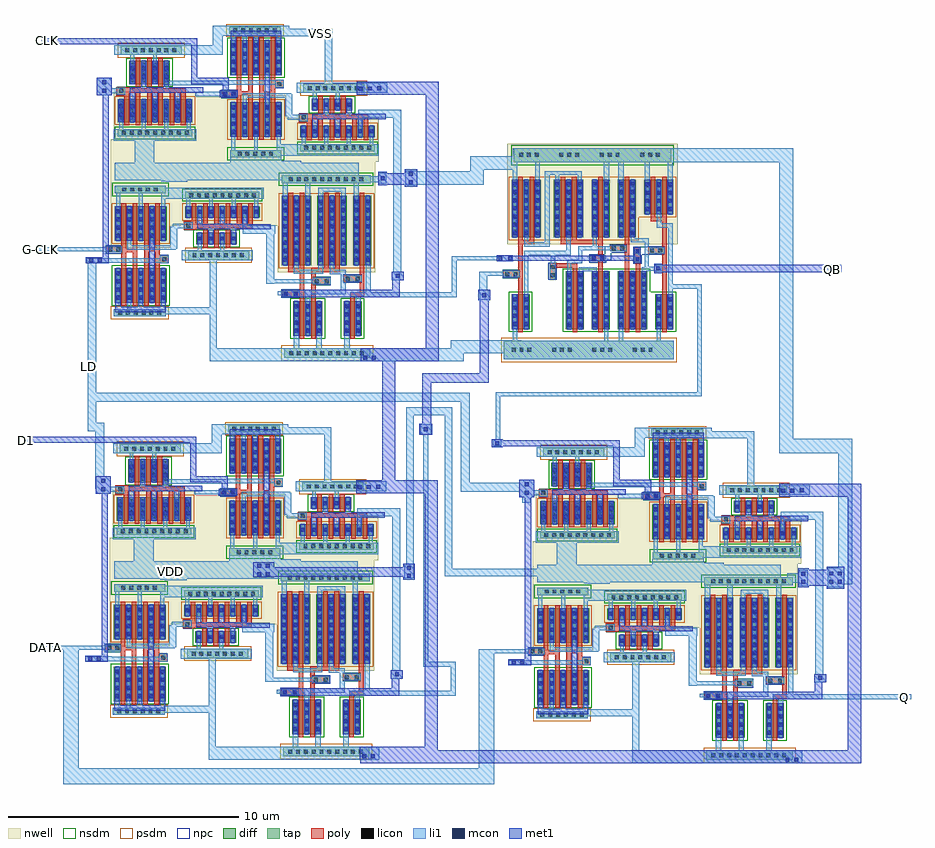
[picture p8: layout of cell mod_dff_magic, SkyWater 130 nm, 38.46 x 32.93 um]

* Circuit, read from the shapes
.subckt mod_dff_magic CLK D1 DATA G-CLK LD Q QB VDD VSS
XM1 VSS DATA n1 VSS sky130_fd_pr__nfet_01v8 w=1.5 l=0.2 m=2
XM2 VSS G-CLK n2 VSS sky130_fd_pr__nfet_01v8 w=1.5 l=0.2 m=2
XM3 MUX_1_2/a1 LD VSS VSS sky130_fd_pr__nfet_01v8 w=1 l=0.2 m=3
XM4 MUX_1_3/a1 LD VSS VSS sky130_fd_pr__nfet_01v8 w=1 l=0.2 m=3
XM5 MUX_1_2/AND_1_3/inverter_2_1/VIN LD n1 VSS sky130_fd_pr__nfet_01v8 w=1.5 l=0.2 m=2
XM6 MUX_1_3/AND_1_3/inverter_2_1/VIN LD n2 VSS sky130_fd_pr__nfet_01v8 w=1.5 l=0.2 m=2
XM7 MUX_1_2/a3 MUX_1_2/AND_1_3/inverter_2_1/VIN VSS VSS sky130_fd_pr__nfet_01v8 w=0.5 l=0.2 m=3
XM8 MUX_1_3/a3 MUX_1_3/AND_1_3/inverter_2_1/VIN VSS VSS sky130_fd_pr__nfet_01v8 w=0.5 l=0.2 m=3
XM9 VSS D1 n3 VSS sky130_fd_pr__nfet_01v8 w=1.5 l=0.2 m=2
XM10 VSS CLK n4 VSS sky130_fd_pr__nfet_01v8 w=1.5 l=0.2 m=2
XM11 MUX_1_2/AND_1_2/inverter_2_1/VIN MUX_1_2/a1 n3 VSS sky130_fd_pr__nfet_01v8 w=1.5 l=0.2 m=2
XM12 MUX_1_3/AND_1_2/inverter_2_1/VIN MUX_1_3/a1 n4 VSS sky130_fd_pr__nfet_01v8 w=1.5 l=0.2 m=2
XM13 n5 MUX_1_2/a4 VSS VSS sky130_fd_pr__nfet_01v8 w=1.5 l=0.2
XM14 n6 MUX_1_3/a4 VSS VSS sky130_fd_pr__nfet_01v8 w=1.5 l=0.2
XM15 VSS MUX_1_2/a3 n5 VSS sky130_fd_pr__nfet_01v8 w=1.5 l=0.2
XM16 VSS MUX_1_3/a3 n6 VSS sky130_fd_pr__nfet_01v8 w=1.5 l=0.2
XM17 MUX_1_2/a4 MUX_1_2/AND_1_2/inverter_2_1/VIN VSS VSS sky130_fd_pr__nfet_01v8 w=0.5 l=0.2 m=3
XM18 MUX_1_3/a4 MUX_1_3/AND_1_2/inverter_2_1/VIN VSS VSS sky130_fd_pr__nfet_01v8 w=0.5 l=0.2 m=3
XM19 TSPC_MAGIC_1_0/D n5 VSS VSS sky130_fd_pr__nfet_01v8 w=1.5 l=0.2
XM20 TSPC_MAGIC_1_0/CLK n6 VSS VSS sky130_fd_pr__nfet_01v8 w=1.5 l=0.2
XM21 n7 TSPC_MAGIC_1_0/D VSS VSS sky130_fd_pr__nfet_01v8 w=1.5 l=0.2
XM22 VSS DATA n8 VSS sky130_fd_pr__nfet_01v8 w=1.5 l=0.2 m=2
XM23 MUX_1_1/a1 LD VSS VSS sky130_fd_pr__nfet_01v8 w=1 l=0.2 m=3
XM24 MUX_1_1/AND_1_3/inverter_2_1/VIN LD n8 VSS sky130_fd_pr__nfet_01v8 w=1.5 l=0.2 m=2
XM25 n9 n7 n10 VSS sky130_fd_pr__nfet_01v8 w=2.5 l=0.2
XM26 VSS TSPC_MAGIC_1_0/CLK n9 VSS sky130_fd_pr__nfet_01v8 w=2.5 l=0.2
XM27 n11 n10 VSS VSS sky130_fd_pr__nfet_01v8 w=2.5 l=0.2
XM28 MUX_1_1/a3 MUX_1_1/AND_1_3/inverter_2_1/VIN VSS VSS sky130_fd_pr__nfet_01v8 w=0.5 l=0.2 m=3
XM29 QB TSPC_MAGIC_1_0/CLK n11 VSS sky130_fd_pr__nfet_01v8 w=2.5 l=0.2
XM30 VSS MUX_1_1/IN1 n12 VSS sky130_fd_pr__nfet_01v8 w=1.5 l=0.2 m=2
XM31 MUX_1_1/IN1 QB VSS VSS sky130_fd_pr__nfet_01v8 w=1.5 l=0.2
XM32 MUX_1_1/AND_1_2/inverter_2_1/VIN MUX_1_1/a1 n12 VSS sky130_fd_pr__nfet_01v8 w=1.5 l=0.2 m=2
XM33 n13 MUX_1_1/a4 VSS VSS sky130_fd_pr__nfet_01v8 w=1.5 l=0.2
XM34 VSS MUX_1_1/a3 n13 VSS sky130_fd_pr__nfet_01v8 w=1.5 l=0.2
XM35 MUX_1_1/a4 MUX_1_1/AND_1_2/inverter_2_1/VIN VSS VSS sky130_fd_pr__nfet_01v8 w=0.5 l=0.2 m=3
XM36 Q n13 VSS VSS sky130_fd_pr__nfet_01v8 w=1.5 l=0.2
XM37 MUX_1_2/AND_1_3/inverter_2_1/VIN DATA VDD VDD sky130_fd_pr__pfet_01v8 w=1.5 l=0.2 m=2
XM38 MUX_1_3/AND_1_3/inverter_2_1/VIN G-CLK VDD VDD sky130_fd_pr__pfet_01v8 w=1.5 l=0.2 m=2
XM39 MUX_1_2/a1 LD VDD VDD sky130_fd_pr__pfet_01v8 w=1 l=0.2 m=6
XM40 MUX_1_3/a1 LD VDD VDD sky130_fd_pr__pfet_01v8 w=1 l=0.2 m=6
XM41 MUX_1_2/AND_1_3/inverter_2_1/VIN LD VDD VDD sky130_fd_pr__pfet_01v8 w=1.5 l=0.2 m=2
XM42 MUX_1_3/AND_1_3/inverter_2_1/VIN LD VDD VDD sky130_fd_pr__pfet_01v8 w=1.5 l=0.2 m=2
XM43 MUX_1_2/a3 MUX_1_2/AND_1_3/inverter_2_1/VIN VDD VDD sky130_fd_pr__pfet_01v8 w=0.5 l=0.2 m=6
XM44 MUX_1_3/a3 MUX_1_3/AND_1_3/inverter_2_1/VIN VDD VDD sky130_fd_pr__pfet_01v8 w=0.5 l=0.2 m=6
XM45 MUX_1_2/AND_1_2/inverter_2_1/VIN D1 VDD VDD sky130_fd_pr__pfet_01v8 w=1.5 l=0.2 m=2
XM46 MUX_1_3/AND_1_2/inverter_2_1/VIN CLK VDD VDD sky130_fd_pr__pfet_01v8 w=1.5 l=0.2 m=2
XM47 MUX_1_2/AND_1_2/inverter_2_1/VIN MUX_1_2/a1 VDD VDD sky130_fd_pr__pfet_01v8 w=1.5 l=0.2 m=2
XM48 MUX_1_3/AND_1_2/inverter_2_1/VIN MUX_1_3/a1 VDD VDD sky130_fd_pr__pfet_01v8 w=1.5 l=0.2 m=2
XM49 n14 MUX_1_2/a4 VDD VDD sky130_fd_pr__pfet_01v8 w=3 l=0.2 m=2
XM50 n15 MUX_1_3/a4 VDD VDD sky130_fd_pr__pfet_01v8 w=3 l=0.2 m=2
XM51 MUX_1_2/a4 MUX_1_2/AND_1_2/inverter_2_1/VIN VDD VDD sky130_fd_pr__pfet_01v8 w=0.5 l=0.2 m=6
XM52 MUX_1_3/a4 MUX_1_3/AND_1_2/inverter_2_1/VIN VDD VDD sky130_fd_pr__pfet_01v8 w=0.5 l=0.2 m=6
XM53 n5 MUX_1_2/a3 n14 VDD sky130_fd_pr__pfet_01v8 w=3 l=0.2 m=2
XM54 n6 MUX_1_3/a3 n15 VDD sky130_fd_pr__pfet_01v8 w=3 l=0.2 m=2
XM55 TSPC_MAGIC_1_0/D n5 VDD VDD sky130_fd_pr__pfet_01v8 w=3 l=0.2
XM56 TSPC_MAGIC_1_0/CLK n6 VDD VDD sky130_fd_pr__pfet_01v8 w=3 l=0.2
XM57 n16 TSPC_MAGIC_1_0/D VDD VDD sky130_fd_pr__pfet_01v8 w=2.5 l=0.2 m=2
XM58 MUX_1_1/AND_1_3/inverter_2_1/VIN DATA VDD VDD sky130_fd_pr__pfet_01v8 w=1.5 l=0.2 m=2
XM59 MUX_1_1/a1 LD VDD VDD sky130_fd_pr__pfet_01v8 w=1 l=0.2 m=6
XM60 n7 TSPC_MAGIC_1_0/CLK n16 VDD sky130_fd_pr__pfet_01v8 w=2.5 l=0.2 m=2
XM61 MUX_1_1/AND_1_3/inverter_2_1/VIN LD VDD VDD sky130_fd_pr__pfet_01v8 w=1.5 l=0.2 m=2
XM62 VDD TSPC_MAGIC_1_0/CLK n10 VDD sky130_fd_pr__pfet_01v8 w=2.5 l=0.2
XM63 MUX_1_1/a3 MUX_1_1/AND_1_3/inverter_2_1/VIN VDD VDD sky130_fd_pr__pfet_01v8 w=0.5 l=0.2 m=6
XM64 QB n10 VDD VDD sky130_fd_pr__pfet_01v8 w=2.5 l=0.2
XM65 MUX_1_1/IN1 QB VDD VDD sky130_fd_pr__pfet_01v8 w=1.5 l=0.2 m=2
XM66 MUX_1_1/AND_1_2/inverter_2_1/VIN MUX_1_1/IN1 VDD VDD sky130_fd_pr__pfet_01v8 w=1.5 l=0.2 m=2
XM67 MUX_1_1/AND_1_2/inverter_2_1/VIN MUX_1_1/a1 VDD VDD sky130_fd_pr__pfet_01v8 w=1.5 l=0.2 m=2
XM68 n17 MUX_1_1/a4 VDD VDD sky130_fd_pr__pfet_01v8 w=3 l=0.2 m=2
XM69 MUX_1_1/a4 MUX_1_1/AND_1_2/inverter_2_1/VIN VDD VDD sky130_fd_pr__pfet_01v8 w=0.5 l=0.2 m=6
XM70 n13 MUX_1_1/a3 n17 VDD sky130_fd_pr__pfet_01v8 w=3 l=0.2 m=2
XM71 Q n13 VDD VDD sky130_fd_pr__pfet_01v8 w=3 l=0.2
.ends

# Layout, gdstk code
import gdstk
lib = gdstk.Library(unit=1e-6, precision=1e-09)
def R(c, l, rs):  # rectangles x0, y0, x1, y1
    for r in rs: c.add(gdstk.rectangle(r[:2], r[2:], *l))
def A(c, l, x, y, w, h, nx, ny, dx, dy):  # array of equal rectangles
    R(c, l, [(x+i*dx, y+j*dy, x+i*dx+w, y+j*dy+h) for i in range(nx) for j in range(ny)])
nwell = (64, 20)
diff = (65, 20)
tap = (65, 44)
poly = (66, 20)
licon = (66, 44)
li1 = (67, 20)
mcon = (67, 44)
met1 = (68, 20)
nsdm = (93, 44)
psdm = (94, 20)
npc = (95, 20)

sky130_fd_pr__nfet_01v8_ = lib.new_cell('sky130_fd_pr__nfet_01v8_FQGQPX')
R(sky130_fd_pr__nfet_01v8_, diff, [(-0.39,-0.75,0.39,0.75)])
R(sky130_fd_pr__nfet_01v8_, poly, [(-0.1,-0.88,0.1,0.88)])
A(sky130_fd_pr__nfet_01v8_, licon, -0.33, -0.595, 0.17, 0.17, 1, 4, 0, 0.34)
A(sky130_fd_pr__nfet_01v8_, licon, 0.16, -0.595, 0.17, 0.17, 1, 4, 0, 0.34)
R(sky130_fd_pr__nfet_01v8_, li1, [(-0.33,-0.77,-0.16,0.77), (0.16,-0.77,0.33,0.77)])
A(sky130_fd_pr__nfet_01v8_, mcon, -0.33, -0.625, 0.17, 0.17, 1, 4, 0, 0.36)
A(sky130_fd_pr__nfet_01v8_, mcon, 0.16, -0.625, 0.17, 0.17, 1, 4, 0, 0.36)
R(sky130_fd_pr__nfet_01v8_, met1, [(-0.36,-0.75,-0.13,0.75), (0.13,-0.75,0.36,0.75)])
R(sky130_fd_pr__nfet_01v8_, nsdm, [(-0.515,-0.875,0.515,0.875)])

c_sky130_fd_pr__nfet_01v8_ = lib.new_cell('sky130_fd_pr__nfet_01v8_NUEQ7D')
R(c_sky130_fd_pr__nfet_01v8_, diff, [(-0.39,-1.25,0.39,1.25)])
R(c_sky130_fd_pr__nfet_01v8_, poly, [(-0.1,-1.38,0.1,1.38)])
A(c_sky130_fd_pr__nfet_01v8_, licon, -0.33, -1.105, 0.17, 0.17, 1, 7, 0, 0.34)
A(c_sky130_fd_pr__nfet_01v8_, licon, 0.16, -1.105, 0.17, 0.17, 1, 7, 0, 0.34)
R(c_sky130_fd_pr__nfet_01v8_, li1, [(-0.33,-1.27,-0.16,1.27), (0.16,-1.27,0.33,1.27)])
A(c_sky130_fd_pr__nfet_01v8_, mcon, -0.33, -1.165, 0.17, 0.17, 1, 7, 0, 0.36)
A(c_sky130_fd_pr__nfet_01v8_, mcon, 0.16, -1.165, 0.17, 0.17, 1, 7, 0, 0.36)
R(c_sky130_fd_pr__nfet_01v8_, met1, [(-0.36,-1.25,-0.13,1.25), (0.13,-1.25,0.36,1.25)])
R(c_sky130_fd_pr__nfet_01v8_, nsdm, [(-0.515,-1.375,0.515,1.375)])

sky130_fd_pr__pfet_01v8_ = lib.new_cell('sky130_fd_pr__pfet_01v8_WN8SDB')
R(sky130_fd_pr__pfet_01v8_, nwell, [(-0.57,-1.56,0.57,1.56)])
R(sky130_fd_pr__pfet_01v8_, diff, [(-0.39,-1.25,0.39,1.25)])
R(sky130_fd_pr__pfet_01v8_, poly, [(-0.1,-1.38,0.1,1.38)])
A(sky130_fd_pr__pfet_01v8_, licon, -0.33, -1.105, 0.17, 0.17, 1, 7, 0, 0.34)
A(sky130_fd_pr__pfet_01v8_, licon, 0.16, -1.105, 0.17, 0.17, 1, 7, 0, 0.34)
R(sky130_fd_pr__pfet_01v8_, li1, [(-0.33,-1.27,-0.16,1.27), (0.16,-1.27,0.33,1.27)])
A(sky130_fd_pr__pfet_01v8_, mcon, -0.33, -1.165, 0.17, 0.17, 1, 7, 0, 0.36)
A(sky130_fd_pr__pfet_01v8_, mcon, 0.16, -1.165, 0.17, 0.17, 1, 7, 0, 0.36)
R(sky130_fd_pr__pfet_01v8_, met1, [(-0.36,-1.25,-0.13,1.25), (0.13,-1.25,0.36,1.25)])
R(sky130_fd_pr__pfet_01v8_, psdm, [(-0.515,-1.375,0.515,1.375)])

c_sky130_fd_pr__pfet_01v8_ = lib.new_cell('sky130_fd_pr__pfet_01v8_WNFSTC')
R(c_sky130_fd_pr__pfet_01v8_, nwell, [(-0.57,-1.06,0.57,1.06)])
R(c_sky130_fd_pr__pfet_01v8_, diff, [(-0.39,-0.75,0.39,0.75)])
R(c_sky130_fd_pr__pfet_01v8_, poly, [(-0.1,-0.88,0.1,0.88)])
A(c_sky130_fd_pr__pfet_01v8_, licon, -0.33, -0.595, 0.17, 0.17, 1, 4, 0, 0.34)
A(c_sky130_fd_pr__pfet_01v8_, licon, 0.16, -0.595, 0.17, 0.17, 1, 4, 0, 0.34)
R(c_sky130_fd_pr__pfet_01v8_, li1, [(-0.33,-0.77,-0.16,0.77), (0.16,-0.77,0.33,0.77)])
A(c_sky130_fd_pr__pfet_01v8_, mcon, -0.33, -0.625, 0.17, 0.17, 1, 4, 0, 0.36)
A(c_sky130_fd_pr__pfet_01v8_, mcon, 0.16, -0.625, 0.17, 0.17, 1, 4, 0, 0.36)
R(c_sky130_fd_pr__pfet_01v8_, met1, [(-0.36,-0.75,-0.13,0.75), (0.13,-0.75,0.36,0.75)])
R(c_sky130_fd_pr__pfet_01v8_, psdm, [(-0.515,-0.875,0.515,0.875)])

tspc_magic_1 = lib.new_cell('TSPC_MAGIC_1')
R(tspc_magic_1, nwell, [(-0.03,0.02,7.355,4.385)])
R(tspc_magic_1, tap, [(-0.18,-4.965,7.185,-4.16), (0.25,3.57,7.06,4.185)])
R(tspc_magic_1, poly, [(0.44,-2.195,0.64,-1.4), (6.675,-2.02,6.875,-0.38), (1.795,-1.485,2.065,-0.99), (-0.205,-1.4,0.64,-1.13), (2.79,-1.15,2.99,-0.99), (0.44,-1.13,0.64,0.02), (3.905,-1.055,4.105,-0.72), (5.535,-1.035,5.735,-0.795), (5.045,-1.02,5.245,-0.285), (1.795,-0.99,2.99,-0.8), (1.795,-0.8,2.065,-0.795), (5.47,-0.795,5.74,-0.105), (3.545,-0.72,4.235,-0.45), (3.905,-0.45,4.105,0.02), (6.07,-0.38,6.875,-0.11), (4.42,-0.285,5.245,-0.015), (6.675,-0.11,6.875,1.025), (5.045,-0.015,5.245,0.205), (0.44,0.02,1.13,0.2), (2.275,0.02,4.105,0.2), (0.44,0.2,0.64,0.24), (2.765,0.2,4.09,0.22), (6.185,1.025,6.875,1.22), (6.675,1.22,6.875,1.225)])
A(tspc_magic_1, licon, 0.155, -4.635, 0.17, 0.17, 3, 1, 0.34, 0)
A(tspc_magic_1, licon, 1.905, -4.635, 0.17, 0.17, 3, 1, 0.34, 0)
A(tspc_magic_1, licon, 3.655, -4.635, 0.17, 0.17, 3, 1, 0.34, 0)
A(tspc_magic_1, licon, 5.405, -4.635, 0.17, 0.17, 3, 1, 0.34, 0)
A(tspc_magic_1, licon, 0.475, 3.815, 0.17, 0.17, 3, 1, 0.34, 0)
A(tspc_magic_1, licon, 2.225, 3.815, 0.17, 0.17, 3, 1, 0.34, 0)
A(tspc_magic_1, licon, 3.975, 3.815, 0.17, 0.17, 3, 1, 0.34, 0)
A(tspc_magic_1, licon, 5.725, 3.815, 0.17, 0.17, 3, 1, 0.34, 0)
R(tspc_magic_1, licon, [(1.845,-1.405,2.015,-1.235), (-0.125,-1.35,0.045,-1.18), (0.235,-1.35,0.405,-1.18), (1.845,-1.045,2.015,-0.875), (5.52,-0.715,5.69,-0.545), (3.625,-0.67,3.795,-0.5), (3.985,-0.67,4.155,-0.5), (5.52,-0.355,5.69,-0.185), (6.15,-0.33,6.32,-0.16), (6.51,-0.33,6.68,-0.16), (4.5,-0.235,4.67,-0.065), (4.86,-0.235,5.03,-0.065)])
R(tspc_magic_1, li1, [(-0.18,-4.965,7.185,-4.16), (0.2,-4.16,0.385,-3.585), (4.16,-4.16,4.345,-3.585), (4.8,-4.16,4.985,-3.58), (6.435,-4.16,6.62,-3.575), (0.7,-2.255,0.87,-0.445), (6.935,-2.155,7.125,0.75), (1.795,-1.485,2.065,-0.795), (-0.205,-1.4,0.485,-1.345), (-0.405,-1.345,0.485,-1.175), (-0.205,-1.175,0.485,-1.13), (2.56,-1.155,2.73,-0.805), (3.05,-1.15,3.845,-0.975), (5.79,-1.15,6.1,-0.98), (5.93,-0.98,6.1,-0.38), (2.56,-0.805,3.215,-0.635), (1.845,-0.795,2.035,-0.445), (5.47,-0.795,5.74,-0.105), (-0.485,-0.72,0.205,-0.67), (3.545,-0.72,4.235,-0.45), (-0.595,-0.67,0.205,-0.5), (3.045,-0.635,3.215,-0.24), (-0.485,-0.5,0.205,-0.45), (0.7,-0.445,2.71,-0.255), (5.93,-0.38,6.76,-0.11), (4.42,-0.285,5.11,-0.24), (2.52,-0.255,2.71,0.345), (3.045,-0.24,5.11,-0.07), (5.93,-0.11,6.1,0.11), (0.695,-0.08,1.795,0.12), (3.675,-0.07,3.845,0.33), (4.42,-0.07,5.11,-0.015), (5.305,0.11,6.1,0.28), (0.695,0.12,0.87,0.35), (1.595,0.12,1.795,3.03), (5.305,0.28,5.475,0.335), (6.44,0.75,7.125,0.935), (6.44,0.935,6.625,1.4), (4.14,2.67,4.39,3.57), (4.77,2.685,5.02,3.57), (5.925,2.76,6.14,3.57), (6.91,2.77,7.125,3.57), (0.195,2.775,0.385,3.57), (1.18,2.785,1.37,3.57), (2.04,2.83,2.215,3.03), (3.025,2.835,3.2,3.03), (1.595,3.03,3.2,3.2), (0.195,3.57,7.125,4.17), (0.195,4.17,7.06,4.185)])
R(tspc_magic_1, mcon, [(5.52,-0.715,5.69,-0.545), (3.625,-0.67,3.795,-0.5), (3.985,-0.67,4.155,-0.5), (-0.42,-0.665,-0.25,-0.495), (0.005,-0.66,0.175,-0.49), (5.52,-0.355,5.69,-0.185)])
R(tspc_magic_1, met1, [(5.47,-0.795,5.74,-0.69), (-0.485,-0.72,0.205,-0.69), (3.545,-0.72,4.235,-0.69), (-0.485,-0.69,5.74,-0.47), (-0.485,-0.47,0.205,-0.45), (3.545,-0.47,4.235,-0.45), (5.47,-0.47,5.74,-0.105)])
R(tspc_magic_1, nsdm, [(3.405,-3.775,3.49,-1.025), (4.52,-3.775,4.63,-1.025), (6.15,-3.775,6.26,-2.025), (0.125,3.445,7.185,4.31)])
R(tspc_magic_1, psdm, [(-0.305,-5.09,7.31,-4.035), (1.545,0.205,1.86,2.955), (3.38,0.205,3.49,2.955), (4.52,0.205,4.63,2.955), (5.66,1.205,5.77,2.955)])
R(tspc_magic_1, npc, [(1.745,-1.505,2.115,-0.775), (-0.225,-1.45,0.505,-1.08), (5.42,-0.815,5.79,-0.43), (3.525,-0.77,4.255,-0.665), (3.525,-0.665,4.465,-0.4), (5.42,-0.43,6.78,-0.085), (4.19,-0.4,4.465,-0.335), (4.19,-0.335,5.13,-0.07), (6.05,-0.085,6.78,-0.06), (4.4,-0.07,5.13,0.035)])
tspc_magic_1.add(gdstk.Reference(sky130_fd_pr__nfet_01v8_, (0.54,-2.9)))
tspc_magic_1.add(gdstk.Reference(c_sky130_fd_pr__nfet_01v8_, (2.89,-2.4)))
tspc_magic_1.add(gdstk.Reference(c_sky130_fd_pr__nfet_01v8_, (4.005,-2.4)))
tspc_magic_1.add(gdstk.Reference(c_sky130_fd_pr__nfet_01v8_, (5.145,-2.4)))
tspc_magic_1.add(gdstk.Reference(c_sky130_fd_pr__nfet_01v8_, (5.635,-2.4)))
tspc_magic_1.add(gdstk.Reference(sky130_fd_pr__nfet_01v8_, (6.775,-2.9)))
tspc_magic_1.add(gdstk.Reference(sky130_fd_pr__pfet_01v8_, (1.03,1.58)))
tspc_magic_1.add(gdstk.Reference(sky130_fd_pr__pfet_01v8_, (0.54,1.58)))
tspc_magic_1.add(gdstk.Reference(sky130_fd_pr__pfet_01v8_, (2.375,1.58)))
tspc_magic_1.add(gdstk.Reference(sky130_fd_pr__pfet_01v8_, (2.865,1.58)))
tspc_magic_1.add(gdstk.Reference(sky130_fd_pr__pfet_01v8_, (4.005,1.58)))
tspc_magic_1.add(gdstk.Reference(sky130_fd_pr__pfet_01v8_, (5.145,1.58)))
tspc_magic_1.add(gdstk.Reference(c_sky130_fd_pr__pfet_01v8_, (6.775,2.08)))
tspc_magic_1.add(gdstk.Reference(c_sky130_fd_pr__pfet_01v8_, (6.285,2.08)))
tspc_magic_1.add(gdstk.Label('VDD', (3.43,3.875), layer=67, texttype=5))
tspc_magic_1.add(gdstk.Label('VSS', (3.25,-4.595), layer=67, texttype=5))
tspc_magic_1.add(gdstk.Label('CLK', (-0.545,-0.595), layer=67, texttype=5))
tspc_magic_1.add(gdstk.Label('D', (-0.31,-1.25), layer=67, texttype=5))
tspc_magic_1.add(gdstk.Label('Q', (7.04,-0.79), layer=67, texttype=5))
tspc_magic_1.add(gdstk.Label('QB', (6.02,-0.845), layer=67, texttype=5))

c_sky130_fd_pr__pfet_01v8__ = lib.new_cell('sky130_fd_pr__pfet_01v8_6WH9DB')
R(c_sky130_fd_pr__pfet_01v8__, nwell, [(-0.57,-1.81,0.57,1.81)])
R(c_sky130_fd_pr__pfet_01v8__, diff, [(-0.39,-1.5,0.39,1.5)])
R(c_sky130_fd_pr__pfet_01v8__, poly, [(-0.1,-1.63,0.1,1.63)])
A(c_sky130_fd_pr__pfet_01v8__, licon, -0.33, -1.275, 0.17, 0.17, 1, 8, 0, 0.34)
A(c_sky130_fd_pr__pfet_01v8__, licon, 0.16, -1.275, 0.17, 0.17, 1, 8, 0, 0.34)
R(c_sky130_fd_pr__pfet_01v8__, li1, [(-0.33,-1.52,-0.16,1.52), (0.16,-1.52,0.33,1.52)])
A(c_sky130_fd_pr__pfet_01v8__, mcon, -0.33, -1.345, 0.17, 0.17, 1, 8, 0, 0.36)
A(c_sky130_fd_pr__pfet_01v8__, mcon, 0.16, -1.345, 0.17, 0.17, 1, 8, 0, 0.36)
R(c_sky130_fd_pr__pfet_01v8__, met1, [(-0.36,-1.5,-0.13,1.5), (0.13,-1.5,0.36,1.5)])
R(c_sky130_fd_pr__pfet_01v8__, psdm, [(-0.515,-1.625,0.515,1.625)])

or_magic = lib.new_cell('OR_MAGIC')
R(or_magic, nwell, [(-8.165,7.41,-7.475,7.615), (-6.88,10.66,-6.655,11.03), (-8.99,10.665,-8.765,11.03), (-10.18,11.03,-5.945,11.795)])
R(or_magic, tap, [(-9.895,3.705,-6.16,4.115), (-9.995,11.28,-6.15,11.61)])
R(or_magic, poly, [(-8.73,6.285,-8.53,6.89), (-9.22,6.29,-9.02,6.35), (-7.03,6.29,-6.825,6.35), (-9.995,6.35,-9.02,6.625), (-7.03,6.35,-6.415,6.55), (-6.615,6.55,-6.415,7), (-9.22,6.625,-9.02,7.41), (-8.73,6.89,-7.87,7.165), (-7.31,7,-6.415,7.275), (-8.73,7.165,-8.53,7.41), (-6.615,7.275,-6.415,7.66), (-9.71,7.41,-9.02,7.615), (-8.73,7.41,-7.475,7.615)])
A(or_magic, licon, -9.68, 3.82, 0.17, 0.17, 10, 1, 0.34, 0)
A(or_magic, licon, -9.695, 11.36, 0.17, 0.17, 10, 1, 0.34, 0)
R(or_magic, licon, [(-9.915,6.4,-9.745,6.57), (-9.485,6.4,-9.315,6.57), (-8.565,6.94,-8.395,7.11), (-8.135,6.94,-7.965,7.11), (-7.225,7.05,-7.055,7.22), (-6.795,7.05,-6.625,7.22)])
R(or_magic, li1, [(-9.895,3.705,-6.16,4.115), (-9.485,4.115,-9.25,4.71), (-8.505,4.115,-8.27,4.715), (-7.295,4.115,-7.06,4.765), (-8.99,6.1,-8.765,6.45), (-6.79,6.135,-6.57,6.335), (-6.79,6.335,-5.955,6.35), (-9.995,6.35,-9.22,6.41), (-7.03,6.35,-5.955,6.55), (-10.18,6.41,-9.22,6.58), (-8.99,6.45,-7.22,6.65), (-6.36,6.55,-6.145,7.77), (-9.995,6.58,-9.22,6.625), (-7.435,6.65,-7.22,7), (-8.645,6.89,-7.87,6.935), (-10.165,6.935,-7.87,7.115), (-7.435,7,-6.53,7.275), (-8.645,7.115,-7.87,7.165), (-7.435,7.275,-7.22,7.335), (-7.925,7.335,-7.22,7.53), (-9.47,7.345,-8.2,7.525), (-9.47,7.525,-9.26,7.82), (-8.41,7.525,-8.2,7.79), (-7.925,7.53,-7.715,7.8), (-9.965,10.65,-9.74,11.28), (-6.88,10.66,-6.655,11.28), (-8.99,10.665,-8.765,11.28), (-7.425,10.69,-7.215,10.91), (-8.415,10.7,-8.205,10.91), (-8.415,10.91,-7.215,11.08), (-9.995,11.28,-6.15,11.61)])
R(or_magic, nsdm, [(-10.12,11.155,-6.025,11.735)])
R(or_magic, psdm, [(-10.02,3.58,-6.035,4.24), (-8.605,7.595,-8.58,10.845), (-7.06,7.595,-7.03,10.845)])
R(or_magic, npc, [(-10.015,6.3,-9.215,6.67), (-8.665,6.84,-7.865,7.21), (-7.325,6.95,-6.525,7.32)])
or_magic.add(gdstk.Reference(c_sky130_fd_pr__pfet_01v8__, (-7.575,9.22)))
or_magic.add(gdstk.Reference(c_sky130_fd_pr__pfet_01v8__, (-9.61,9.22)))
or_magic.add(gdstk.Reference(c_sky130_fd_pr__pfet_01v8__, (-9.12,9.22)))
or_magic.add(gdstk.Reference(c_sky130_fd_pr__pfet_01v8__, (-8.065,9.22)))
or_magic.add(gdstk.Reference(c_sky130_fd_pr__pfet_01v8__, (-6.515,9.22)))
or_magic.add(gdstk.Reference(sky130_fd_pr__nfet_01v8_, (-8.63,5.41)))
or_magic.add(gdstk.Reference(sky130_fd_pr__nfet_01v8_, (-9.12,5.41)))
or_magic.add(gdstk.Reference(sky130_fd_pr__nfet_01v8_, (-6.93,5.41)))
or_magic.add(gdstk.Label('VDD', (-8.175,11.58), layer=67, texttype=5))
or_magic.add(gdstk.Label('VOUT', (-6.04,6.46), layer=67, texttype=5))
or_magic.add(gdstk.Label('A', (-10.125,7), layer=67, texttype=5))
or_magic.add(gdstk.Label('B', (-10.12,6.475), layer=67, texttype=5))
or_magic.add(gdstk.Label('VSS', (-8.175,3.74), layer=67, texttype=5))

c_sky130_fd_pr__pfet_01v8___ = lib.new_cell('sky130_fd_pr__pfet_01v8_ES6SDC')
R(c_sky130_fd_pr__pfet_01v8___, nwell, [(-0.57,-0.81,0.57,0.81)])
R(c_sky130_fd_pr__pfet_01v8___, diff, [(-0.39,-0.5,0.39,0.5)])
R(c_sky130_fd_pr__pfet_01v8___, poly, [(-0.1,-0.63,0.1,0.63)])
A(c_sky130_fd_pr__pfet_01v8___, licon, -0.33, -0.425, 0.17, 0.17, 1, 3, 0, 0.34)
A(c_sky130_fd_pr__pfet_01v8___, licon, 0.16, -0.425, 0.17, 0.17, 1, 3, 0, 0.34)
R(c_sky130_fd_pr__pfet_01v8___, li1, [(-0.33,-0.52,-0.16,0.52), (0.16,-0.52,0.33,0.52)])
R(c_sky130_fd_pr__pfet_01v8___, mcon, [(-0.33,-0.265,-0.16,-0.095), (0.16,-0.265,0.33,-0.095), (-0.33,0.095,-0.16,0.265), (0.16,0.095,0.33,0.265)])
R(c_sky130_fd_pr__pfet_01v8___, met1, [(-0.36,-0.5,-0.13,0.5), (0.13,-0.5,0.36,0.5)])
R(c_sky130_fd_pr__pfet_01v8___, psdm, [(-0.515,-0.625,0.515,0.625)])

c_sky130_fd_pr__nfet_01v8__ = lib.new_cell('sky130_fd_pr__nfet_01v8_JNEGCF')
R(c_sky130_fd_pr__nfet_01v8__, diff, [(-0.39,-0.5,0.39,0.5)])
R(c_sky130_fd_pr__nfet_01v8__, poly, [(-0.1,-0.63,0.1,0.63)])
A(c_sky130_fd_pr__nfet_01v8__, licon, -0.33, -0.425, 0.17, 0.17, 1, 3, 0, 0.34)
A(c_sky130_fd_pr__nfet_01v8__, licon, 0.16, -0.425, 0.17, 0.17, 1, 3, 0, 0.34)
R(c_sky130_fd_pr__nfet_01v8__, li1, [(-0.33,-0.52,-0.16,0.52), (0.16,-0.52,0.33,0.52)])
R(c_sky130_fd_pr__nfet_01v8__, mcon, [(-0.33,-0.265,-0.16,-0.095), (0.16,-0.265,0.33,-0.095), (-0.33,0.095,-0.16,0.265), (0.16,0.095,0.33,0.265)])
R(c_sky130_fd_pr__nfet_01v8__, met1, [(-0.36,-0.5,-0.13,0.5), (0.13,-0.5,0.36,0.5)])
R(c_sky130_fd_pr__nfet_01v8__, nsdm, [(-0.515,-0.625,0.515,0.625)])

inverter_1 = lib.new_cell('inverter_1')
R(inverter_1, nwell, [(0.14,0.12,0.505,0.15), (0.24,1.33,0.41,1.62), (1.22,1.33,1.39,1.62), (3.18,1.33,3.35,1.62), (0,1.62,3.59,2.115)])
R(inverter_1, tap, [(0.31,-2.005,2.955,-1.61), (0.18,1.645,3.405,1.93)])
A(inverter_1, poly, 0.96, 0.045, 0.2, 0.14, 4, 1, 0.49, 0)
R(inverter_1, poly, [(0.96,-0.215,1.16,-0.155), (0.12,-0.21,0.67,-0.155), (1.45,-0.21,1.65,-0.155), (1.94,-0.21,2.14,-0.155), (0.12,-0.155,3.12,0.045), (0.12,0.045,0.67,0.17), (2.92,0.045,3.12,0.19), (0.47,0.17,0.67,0.24)])
A(inverter_1, licon, 0.505, -1.895, 0.17, 0.17, 7, 1, 0.34, 0)
A(inverter_1, licon, 0.36, 1.695, 0.17, 0.17, 9, 1, 0.34, 0)
R(inverter_1, licon, [(0.24,-0.13,0.41,0.04)])
A(inverter_1, li1, 0.24, 1.33, 0.17, 0.29, 4, 1, 0.98, 0)
R(inverter_1, li1, [(0.03,-2.03,3.105,-1.6), (0.73,-1.6,0.9,-1.31), (1.71,-1.6,1.88,-1.31), (0.14,-0.18,0.505,-0.15), (-0.36,-0.15,0.505,0.055), (0.14,0.055,0.505,0.12), (0,1.62,3.59,2.115)])
R(inverter_1, met1, [(1.19,-0.345,1.42,-0.2), (2.17,-0.34,2.4,-0.2), (0.7,-0.2,3.885,0.03), (0.7,0.03,0.93,0.31), (1.19,0.03,2.4,0.04), (2.66,0.03,2.89,0.31), (1.68,0.04,1.91,0.31)])
R(inverter_1, nsdm, [(0.055,1.52,3.53,2.055)])
R(inverter_1, psdm, [(0.185,-2.13,3.08,-1.485)])
R(inverter_1, npc, [(0.14,-0.23,0.51,0.14)])
inverter_1.add(gdstk.Reference(c_sky130_fd_pr__pfet_01v8___, (2.53,0.81)))
inverter_1.add(gdstk.Reference(c_sky130_fd_pr__pfet_01v8___, (2.04,0.81)))
inverter_1.add(gdstk.Reference(c_sky130_fd_pr__pfet_01v8___, (1.55,0.81)))
inverter_1.add(gdstk.Reference(c_sky130_fd_pr__pfet_01v8___, (3.02,0.81)))
inverter_1.add(gdstk.Reference(c_sky130_fd_pr__pfet_01v8___, (0.57,0.81)))
inverter_1.add(gdstk.Reference(c_sky130_fd_pr__pfet_01v8___, (1.06,0.81)))
inverter_1.add(gdstk.Reference(c_sky130_fd_pr__nfet_01v8__, (1.55,-0.84)))
inverter_1.add(gdstk.Reference(c_sky130_fd_pr__nfet_01v8__, (1.06,-0.84)))
inverter_1.add(gdstk.Reference(c_sky130_fd_pr__nfet_01v8__, (2.04,-0.84)))
inverter_1.add(gdstk.Label('VOUT', (3.755,-0.13), layer=68, texttype=5))
inverter_1.add(gdstk.Label('VDD', (1.76,1.8), layer=67, texttype=5))
inverter_1.add(gdstk.Label('VSS', (1.585,-1.82), layer=67, texttype=5))
inverter_1.add(gdstk.Label('VIN', (-0.17,-0.08), layer=67, texttype=5))

nand_magic_1 = lib.new_cell('NAND_MAGIC_1')
R(nand_magic_1, nwell, [(0.06,2.075,1.69,2.08), (0.06,2.08,2.67,2.835)])
R(nand_magic_1, tap, [(0.2,-3,2.445,-2.695), (0.25,2.335,2.46,2.655)])
R(nand_magic_1, poly, [(0.53,-0.87,0.73,-0.235), (1.02,-0.785,1.22,-0.215), (1.51,-0.785,1.71,-0.19), (2,-0.785,2.2,-0.71), (2,-0.71,2.57,-0.355), (2,-0.355,2.2,-0.19), (-0.125,-0.235,0.73,-0.215), (-0.125,-0.215,1.22,-0.065), (1.51,-0.19,2.2,-0.03), (-0.125,-0.065,0.73,0.035), (1.02,-0.065,1.22,0.14), (1.51,-0.03,1.71,0.14), (2,-0.03,2.2,0.14), (0.53,0.035,0.73,0.14)])
A(nand_magic_1, licon, 0.385, -2.935, 0.17, 0.17, 6, 1, 0.34, 0)
A(nand_magic_1, licon, 0.57, 2.41, 0.17, 0.17, 5, 1, 0.34, 0)
R(nand_magic_1, licon, [(2.295,-0.61,2.465,-0.44), (-0.045,-0.185,0.125,-0.015), (0.3,-0.185,0.47,-0.015)])
A(nand_magic_1, li1, 0.3, 1.77, 0.17, 0.565, 3, 1, 0.98, 0)
R(nand_magic_1, li1, [(0.2,-3,2.445,-2.695), (0.785,-2.695,0.96,-2.435), (2.2,-0.71,2.57,-0.68), (0.14,-0.685,0.495,-0.68), (0.14,-0.68,2.57,-0.485), (2.2,-0.485,2.57,-0.355), (-0.125,-0.235,0.55,-0.195), (-0.225,-0.195,0.55,0.005), (0.79,-0.12,2.885,0.07), (-0.125,0.005,0.55,0.035), (0.79,0.07,0.96,0.285), (1.77,0.07,1.94,0.255), (0.25,2.335,2.46,2.655)])
R(nand_magic_1, met1, [(0.265,-2.83,2.46,-2.595), (0.265,-2.595,0.5,-2.41), (1.25,-2.595,1.48,-2.41), (2.23,-2.595,2.46,-2.415), (1.74,-0.915,1.97,0.275)])
R(nand_magic_1, nsdm, [(0.125,2.21,2.585,2.78)])
R(nand_magic_1, psdm, [(0.075,-3.125,2.57,-2.57)])
R(nand_magic_1, npc, [(2.195,-0.71,2.565,-0.34), (-0.145,-0.285,0.57,0.085)])
nand_magic_1.add(gdstk.Reference(c_sky130_fd_pr__pfet_01v8_, (2.1,1.02)))
nand_magic_1.add(gdstk.Reference(c_sky130_fd_pr__pfet_01v8_, (1.12,1.02)))
nand_magic_1.add(gdstk.Reference(c_sky130_fd_pr__pfet_01v8_, (1.61,1.02)))
nand_magic_1.add(gdstk.Reference(c_sky130_fd_pr__pfet_01v8_, (0.63,1.02)))
nand_magic_1.add(gdstk.Reference(sky130_fd_pr__nfet_01v8_, (1.61,-1.665)))
nand_magic_1.add(gdstk.Reference(sky130_fd_pr__nfet_01v8_, (2.1,-1.665)))
nand_magic_1.add(gdstk.Reference(sky130_fd_pr__nfet_01v8_, (0.63,-1.665)))
nand_magic_1.add(gdstk.Reference(sky130_fd_pr__nfet_01v8_, (1.12,-1.665)))
nand_magic_1.add(gdstk.Label('VDD', (1.265,2.61), layer=67, texttype=5))
nand_magic_1.add(gdstk.Label('B', (-0.19,-0.095), layer=67, texttype=5))
nand_magic_1.add(gdstk.Label('VSS', (1.38,-2.85), layer=67, texttype=5))
nand_magic_1.add(gdstk.Label('VOUT', (2.855,-0.065), layer=67, texttype=5))

c_sky130_fd_pr__pfet_01v8____ = lib.new_cell('sky130_fd_pr__pfet_01v8_WN25TG')
R(c_sky130_fd_pr__pfet_01v8____, nwell, [(-0.57,-0.56,0.57,0.56)])
R(c_sky130_fd_pr__pfet_01v8____, diff, [(-0.39,-0.25,0.39,0.25)])
R(c_sky130_fd_pr__pfet_01v8____, poly, [(-0.1,-0.38,0.1,0.38)])
R(c_sky130_fd_pr__pfet_01v8____, licon, [(-0.33,-0.085,-0.16,0.085), (0.16,-0.085,0.33,0.085)])
R(c_sky130_fd_pr__pfet_01v8____, li1, [(-0.33,-0.27,-0.16,0.27), (0.16,-0.27,0.33,0.27)])
R(c_sky130_fd_pr__pfet_01v8____, mcon, [(-0.33,-0.085,-0.16,0.085), (0.16,-0.085,0.33,0.085)])
R(c_sky130_fd_pr__pfet_01v8____, met1, [(-0.36,-0.25,-0.13,0.25), (0.13,-0.25,0.36,0.25)])
R(c_sky130_fd_pr__pfet_01v8____, psdm, [(-0.515,-0.375,0.515,0.375)])

c_sky130_fd_pr__nfet_01v8___ = lib.new_cell('sky130_fd_pr__nfet_01v8_62GQ7J')
R(c_sky130_fd_pr__nfet_01v8___, diff, [(-0.39,-0.25,0.39,0.25)])
R(c_sky130_fd_pr__nfet_01v8___, poly, [(-0.1,-0.38,0.1,0.38)])
R(c_sky130_fd_pr__nfet_01v8___, licon, [(-0.33,-0.085,-0.16,0.085), (0.16,-0.085,0.33,0.085)])
R(c_sky130_fd_pr__nfet_01v8___, li1, [(-0.33,-0.27,-0.16,0.27), (0.16,-0.27,0.33,0.27)])
R(c_sky130_fd_pr__nfet_01v8___, mcon, [(-0.33,-0.085,-0.16,0.085), (0.16,-0.085,0.33,0.085)])
R(c_sky130_fd_pr__nfet_01v8___, met1, [(-0.36,-0.25,-0.13,0.25), (0.13,-0.25,0.36,0.25)])
R(c_sky130_fd_pr__nfet_01v8___, nsdm, [(-0.515,-0.375,0.515,0.375)])

inverter_2 = lib.new_cell('inverter_2')
R(inverter_2, nwell, [(0.14,0.12,0.505,0.15), (0.24,0.83,0.41,1.12), (1.22,0.83,1.39,1.12), (3.18,0.83,3.35,1.12), (0,1.12,3.59,1.615)])
R(inverter_2, tap, [(0.31,-1.51,2.955,-1.115), (0.18,1.145,3.405,1.43)])
A(inverter_2, poly, 0.96, -0.215, 0.2, 0.06, 3, 1, 0.49, 0)
A(inverter_2, poly, 0.96, 0.045, 0.2, 0.14, 4, 1, 0.49, 0)
R(inverter_2, poly, [(0.12,-0.21,0.67,-0.155), (0.12,-0.155,3.12,0.045), (0.12,0.045,0.67,0.17), (2.92,0.045,3.12,0.19), (0.47,0.17,0.67,0.24)])
A(inverter_2, licon, 0.505, -1.4, 0.17, 0.17, 7, 1, 0.34, 0)
A(inverter_2, licon, 0.36, 1.195, 0.17, 0.17, 9, 1, 0.34, 0)
R(inverter_2, licon, [(0.24,-0.13,0.41,0.04)])
A(inverter_2, li1, 0.24, 0.83, 0.17, 0.29, 4, 1, 0.98, 0)
R(inverter_2, li1, [(0.03,-1.535,3.105,-1.105), (0.73,-1.105,0.9,-0.815), (1.71,-1.105,1.88,-0.815), (0.14,-0.18,0.505,-0.15), (-0.36,-0.15,0.505,0.055), (0.14,0.055,0.505,0.12), (0,1.12,3.59,1.615)])
R(inverter_2, met1, [(1.19,-0.345,1.42,-0.2), (2.17,-0.345,2.4,-0.2), (0.7,-0.2,3.885,0.03), (0.7,0.03,0.93,0.31), (1.19,0.03,2.4,0.04), (2.66,0.03,2.89,0.31), (1.68,0.04,1.91,0.31)])
R(inverter_2, nsdm, [(0.055,1.02,3.53,1.555)])
R(inverter_2, psdm, [(0.185,-1.635,3.08,-0.99)])
R(inverter_2, npc, [(0.14,-0.23,0.51,0.14)])
inverter_2.add(gdstk.Reference(c_sky130_fd_pr__pfet_01v8____, (3.02,0.56)))
inverter_2.add(gdstk.Reference(c_sky130_fd_pr__pfet_01v8____, (2.53,0.56)))
inverter_2.add(gdstk.Reference(c_sky130_fd_pr__pfet_01v8____, (1.06,0.56)))
inverter_2.add(gdstk.Reference(c_sky130_fd_pr__pfet_01v8____, (1.55,0.56)))
inverter_2.add(gdstk.Reference(c_sky130_fd_pr__pfet_01v8____, (2.04,0.56)))
inverter_2.add(gdstk.Reference(c_sky130_fd_pr__pfet_01v8____, (0.57,0.56)))
inverter_2.add(gdstk.Reference(c_sky130_fd_pr__nfet_01v8___, (2.04,-0.595)))
inverter_2.add(gdstk.Reference(c_sky130_fd_pr__nfet_01v8___, (1.55,-0.595)))
inverter_2.add(gdstk.Reference(c_sky130_fd_pr__nfet_01v8___, (1.06,-0.595)))
inverter_2.add(gdstk.Label('VOUT', (3.755,-0.13), layer=68, texttype=5))
inverter_2.add(gdstk.Label('VDD', (1.76,1.3), layer=67, texttype=5))
inverter_2.add(gdstk.Label('VSS', (1.585,-1.325), layer=67, texttype=5))
inverter_2.add(gdstk.Label('VIN', (-0.17,-0.08), layer=67, texttype=5))

and_1 = lib.new_cell('AND_1')
R(and_1, nwell, [(2.91,3.955,3.345,5.11), (2.665,5.11,3.355,5.205), (2.665,5.205,4.285,5.605), (2.91,5.605,6.935,5.86)])
R(and_1, li1, [(2.65,0.115,4.9,0.42), (4.595,0.42,4.9,2.59), (-0.75,2.35,0.385,2.55), (-1.02,2.84,0.195,3.02), (2.875,2.945,3.18,3.905), (6.035,3.61,7.425,3.96), (6.035,3.96,6.205,4.285), (2.665,5.11,3.355,5.605)])
and_1.add(gdstk.Reference(nand_magic_1, (0.24,3.025)))
and_1.add(gdstk.Reference(inverter_2, (3.345,3.99)))
and_1.add(gdstk.Label('A', (-0.49,2.41), layer=67, texttype=5))
and_1.add(gdstk.Label('B', (-0.78,2.915), layer=67, texttype=5))
and_1.add(gdstk.Label('VOUT', (6.995,3.73), layer=67, texttype=5))
and_1.add(gdstk.Label('VSS', (3.435,0.2), layer=67, texttype=5))
and_1.add(gdstk.Label('VDD', (2.9,5.465), layer=67, texttype=5))

mux_1 = lib.new_cell('MUX_1')
R(mux_1, nwell, [(7.945,3.955,9.085,5.785), (4.735,5.785,9.085,5.86), (1.8,5.86,9.085,6.15), (1.8,6.15,10.62,6.215), (1.8,6.215,12.94,6.29), (1.8,6.29,13.27,6.735), (1.8,6.735,10.62,6.97), (1.8,6.97,6.865,7.02), (1.8,7.02,6.795,7.7), (2.84,7.7,3.7,8.16), (4.985,7.7,6.795,9.53)])
R(mux_1, poly, [(6.61,9.535,7.25,9.775)])
R(mux_1, li1, [(6.095,-1.925,13.48,-1.36), (6.095,-1.36,6.4,0.495), (13.045,0.855,16.805,1.07), (9.245,0.87,9.535,1.14), (9.725,0.9,9.935,1.105), (8.545,1.445,8.895,1.455), (8.545,1.455,9.78,1.635), (13.985,1.585,14.51,1.945), (8.545,1.635,8.895,3.96), (14.04,1.945,14.39,8.63), (0.75,2.35,1.87,2.55), (-0.44,2.84,0.535,3.02), (0.56,2.84,1.02,3.02), (4.185,5.85,5.13,5.885), (4,5.885,5.13,5.92), (1.99,5.92,12.545,6.685), (2.84,6.685,3.7,7.735), (6.98,6.685,10.07,6.77), (6.98,6.77,9.195,6.915), (13.57,8.63,14.39,8.98), (6.61,9.53,7.25,9.57), (5.585,9.57,7.25,9.75), (1.2,9.61,1.85,10.36), (12.475,9.705,13.795,10.135), (6.61,9.75,7.25,9.775), (4.135,10.04,6.45,10.24), (5.03,11.35,6.65,11.78), (6.22,11.78,6.65,12.185), (6.22,12.185,9.545,12.615)])
R(mux_1, mcon, [(13.12,-1.86,13.29,-1.69), (12.745,-1.855,12.915,-1.685), (9.745,0.915,9.915,1.085), (9.305,0.92,9.475,1.09), (14.165,1.69,14.335,1.86), (0.875,2.36,1.045,2.53), (1.245,2.36,1.415,2.53), (6.66,9.57,6.83,9.74), (7.06,9.575,7.23,9.745), (1.44,9.72,1.61,9.89), (12.555,9.805,12.725,9.975), (12.945,9.81,13.115,9.98), (13.355,9.815,13.525,9.985), (1.44,10.08,1.61,10.25)])
R(mux_1, met1, [(12.63,-1.925,16.015,-1.36), (15.45,-1.36,16.015,9.62), (9.24,0.845,14.34,1.17), (14.015,1.17,14.34,1.585), (13.985,1.585,14.51,1.945), (0.735,2.32,1.72,2.59), (1.45,2.59,1.72,9.61), (6.525,9.525,7.32,9.815), (1.2,9.61,1.85,10.36), (12.475,9.62,16.015,10.185), (6.655,9.815,6.925,10.09), (5.285,10.09,6.925,10.36), (5.285,10.36,5.555,11.81), (0.07,11.81,5.555,12.08)])
mux_1.add(gdstk.Reference(or_magic, (19.215,-5.48)))
mux_1.add(gdstk.Reference(inverter_1, (1.93,9.75), x_reflection=True))
mux_1.add(gdstk.Reference(and_1, (6.495,12.59), x_reflection=True))
mux_1.add(gdstk.Reference(and_1, (1.5,0)))
mux_1.add(gdstk.Label('a4', (14.23,4.67), layer=67, texttype=5))
mux_1.add(gdstk.Label('a3', (8.72,2.25), layer=67, texttype=5))
mux_1.add(gdstk.Label('a1', (6.21,10.14), layer=67, texttype=5))
mux_1.add(gdstk.Label('SEL', (1.35,10.19), layer=68, texttype=5))
mux_1.add(gdstk.Label('VDD', (6.76,6.14), layer=67, texttype=5))
mux_1.add(gdstk.Label('VOUT', (16.585,0.945), layer=67, texttype=5))
mux_1.add(gdstk.Label('IN2', (-0.09,2.9), layer=67, texttype=5))
mux_1.add(gdstk.Label('IN1', (0.42,11.96), layer=68, texttype=5))
mux_1.add(gdstk.Label('VSS', (6.11,11.51), layer=67, texttype=5))

mod_dff_magic = lib.new_cell('mod_dff_magic')
R(mod_dff_magic, li1, [(0.19,-18.245,18.865,-17.565), (0.19,-17.565,0.87,-12.43), (18.185,-17.565,18.865,-12.405), (35.3,-14.57,36.935,-14.355), (16.99,-14.415,17.205,-13.17), (15.78,-13.17,17.205,-12.955), (15.78,-12.955,15.995,-3.08), (-0.725,-12.43,1.025,-12.25), (33.31,-9.72,34.005,-9.58), (32.06,-9.655,32.455,-9.53), (33.31,-9.58,34.37,-8.885), (31.56,-9.53,32.455,-9.115), (2.9,-9.35,7.135,-8.585), (14.96,-9.33,15.38,-8.765), (8.475,-9.265,9.27,-8.675), (16.725,-9.24,21.375,-8.91), (32.06,-9.115,32.455,-8.96), (16.725,-8.91,17.055,-2.26), (33.76,-8.885,34.37,-3.905), (15.045,-8.765,15.375,-2.26), (20.075,-6.065,20.455,-5.575), (17.415,-5.575,20.455,-5.195), (1.575,-5.455,1.955,-2.965), (17.415,-5.195,17.795,-1.675), (31.21,-3.905,34.37,-3.295), (18.81,-3.615,19.175,-3.345), (18.925,-3.345,19.115,-1.455), (31.21,-3.295,31.82,8.69), (15.665,-3.08,16.125,-2.655), (1.245,-2.965,1.955,-2.585), (1.245,-2.585,1.625,-1.675), (15.045,-2.26,17.055,-1.93), (1.245,-1.675,17.795,-1.295), (18.925,-1.455,27.86,-1.265), (1.245,-1.295,1.625,4.5), (27.67,-1.265,27.86,3.21), (8.7,0.07,17.545,0.41), (8.7,0.41,20.035,0.635), (16.98,0.635,20.035,0.975), (18.235,2.74,18.63,3.09), (17.03,2.85,17.245,4.445), (18.21,3.09,18.63,3.135), (18.21,3.135,18.57,3.77), (26.4,3.21,27.86,3.4), (18.21,3.77,19.23,3.94), (25.825,3.95,26.095,3.99), (25.395,3.99,26.095,4.16), (25.825,4.16,26.095,4.245), (17.03,4.445,19.04,4.615), (-0.955,4.835,0.185,5.015), (15.01,7.7,15.5,7.73), (15.01,7.73,18.41,8.315), (13.87,7.76,14.18,7.83), (13.25,7.83,14.18,8.09), (13.87,8.09,14.18,8.23), (15.01,8.315,15.5,8.33), (17.825,8.315,18.41,8.365), (17.825,8.365,19.84,8.95), (26.22,8.69,31.82,9.3), (10.365,14.165,11.835,14.47)])
R(mod_dff_magic, mcon, [(32.17,-9.575,32.34,-9.405), (33.39,-9.57,33.56,-9.4), (33.75,-9.57,33.92,-9.4), (15.085,-9.315,15.255,-9.145), (8.605,-9.235,8.775,-9.065), (8.965,-9.235,9.135,-9.065), (32.17,-9.215,32.34,-9.045), (33.39,-9.21,33.56,-9.04), (33.75,-9.21,33.92,-9.04), (15.085,-8.955,15.255,-8.785), (8.605,-8.875,8.775,-8.705), (8.965,-8.875,9.135,-8.705), (18.905,-3.565,19.075,-3.395), (15.81,-2.955,15.98,-2.785), (18.345,2.85,18.515,3.02), (25.875,4.01,26.045,4.18), (15.17,7.75,15.34,7.92), (13.94,7.91,14.11,8.08), (15.17,8.11,15.34,8.28)])
R(mod_dff_magic, met1, [(13.05,-17.35,32.82,-16.785), (33.28,-9.78,34.035,-9.655), (32.03,-9.715,32.485,-9.655), (32.03,-9.655,34.035,-8.96), (14.93,-9.39,15.41,-9.26), (8.415,-9.295,9.33,-9.26), (8.415,-9.26,15.41,-8.85), (32.03,-8.96,32.485,-8.9), (33.28,-8.96,34.035,-8.825), (8.415,-8.85,9.33,-8.645), (14.93,-8.85,15.41,-8.705), (14.02,-5.645,14.585,0.64), (18.75,-3.645,19.235,-3.315), (-1.525,-3.46,0.74,-3.19), (15.605,-3.11,16.185,-2.625), (15.735,-2.625,16.13,-0.85), (15.735,-0.85,18.63,-0.455), (18.235,-0.455,18.63,2.71), (18.175,2.71,18.69,3.165), (25.795,3.89,26.125,3.935), (25.795,3.935,33.905,4.245), (25.795,4.245,26.125,4.305), (14.98,7.64,15.53,7.73), (13.84,7.7,14.21,7.73), (13.84,7.73,15.53,8.21), (13.84,8.21,14.21,8.29), (14.98,8.21,15.53,8.39), (-0.745,13.805,0.78,14.075)])
mod_dff_magic.add(gdstk.Reference(tspc_magic_1, (19.465,5.115)))
mod_dff_magic.add(gdstk.Reference(mux_1, (18.74,-15.425)))
mod_dff_magic.add(gdstk.Reference(mux_1, (0.4,-15.27)))
mod_dff_magic.add(gdstk.Reference(mux_1, (0.44,1.995)))
mod_dff_magic.add(gdstk.Label('CLK', (-0.49,13.95), layer=68, texttype=5))
mod_dff_magic.add(gdstk.Label('G-CLK', (-0.81,4.91), layer=67, texttype=5))
mod_dff_magic.add(gdstk.Label('D1', (-1.39,-3.36), layer=68, texttype=5))
mod_dff_magic.add(gdstk.Label('DATA', (-0.6,-12.35), layer=67, texttype=5))
mod_dff_magic.add(gdstk.Label('LD', (1.29,-0.145), layer=67, texttype=5))
mod_dff_magic.add(gdstk.Label('Q', (36.635,-14.48), layer=67, texttype=5))
mod_dff_magic.add(gdstk.Label('VSS', (11.315,14.285), layer=67, texttype=5))
mod_dff_magic.add(gdstk.Label('VDD', (4.815,-9.035), layer=67, texttype=5))
mod_dff_magic.add(gdstk.Label('QB', (33.515,4.06), layer=68, texttype=5))

lib.write_gds('mod_dff_magic.gds')
